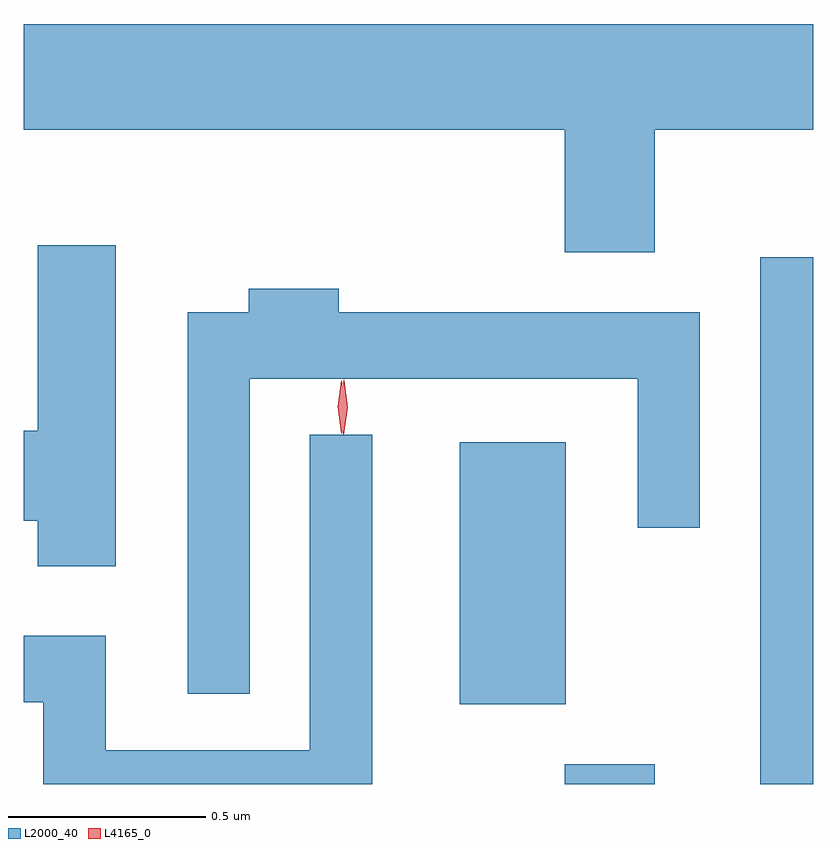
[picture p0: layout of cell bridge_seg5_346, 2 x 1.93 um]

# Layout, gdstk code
import gdstk
lib = gdstk.Library(unit=1e-6, precision=1e-09)
def R(c, l, rs):  # rectangles x0, y0, x1, y1
    for r in rs: c.add(gdstk.rectangle(r[:2], r[2:], *l))
def P(c, l, *ps):  # polygons
    for p in ps: c.add(gdstk.Polygon(p, *l))
L2000_40 = (2000, 40)
L4165_0 = (4165, 0)

bridge_seg5_346 = lib.new_cell('bridge_seg5_346')
R(bridge_seg5_346, L2000_40, [(700.221,1506.199,700.449,1506.249), (700.716,1506.199,700.851,1507.533), (699.956,1506.401,700.224,1507.064)])
P(bridge_seg5_346, L2000_40, [(700.449,1507.856),(700.851,1507.856),(700.851,1508.124),(698.851,1508.124),(698.851,1507.856),(700.221,1507.856),(700.221,1507.546),(700.449,1507.546)],
  [(699.084,1507.564),(698.886,1507.564),(698.886,1507.094),(698.851,1507.094),(698.851,1506.866),(698.886,1506.866),(698.886,1506.751),(699.084,1506.751)],
  [(699.424,1507.226),(700.406,1507.226),(700.406,1506.848),(700.564,1506.848),(700.564,1507.394),(699.649,1507.394),(699.649,1507.454),(699.421,1507.454),(699.421,1507.394),(699.266,1507.394),(699.266,1506.428),(699.424,1506.428)],
  [(699.734,1507.083),(699.576,1507.083),(699.576,1506.284),(699.059,1506.284),(699.059,1506.574),(698.851,1506.574),(698.851,1506.406),(698.901,1506.406),(698.901,1506.199),(699.734,1506.199)])
P(bridge_seg5_346, L4165_0, [(699.661,1507.083),(699.661,1507.084),(699.652,1507.153),(699.662,1507.222),(699.662,1507.223),(699.663,1507.222),(699.672,1507.153),(699.662,1507.084)],
  [(699.656,1507.087),(699.655,1507.088),(699.646,1507.154),(699.655,1507.22),(699.656,1507.221),(699.656,1507.22),(699.666,1507.154),(699.656,1507.088)])

lib.write_gds('bridge_seg5_346.gds')
